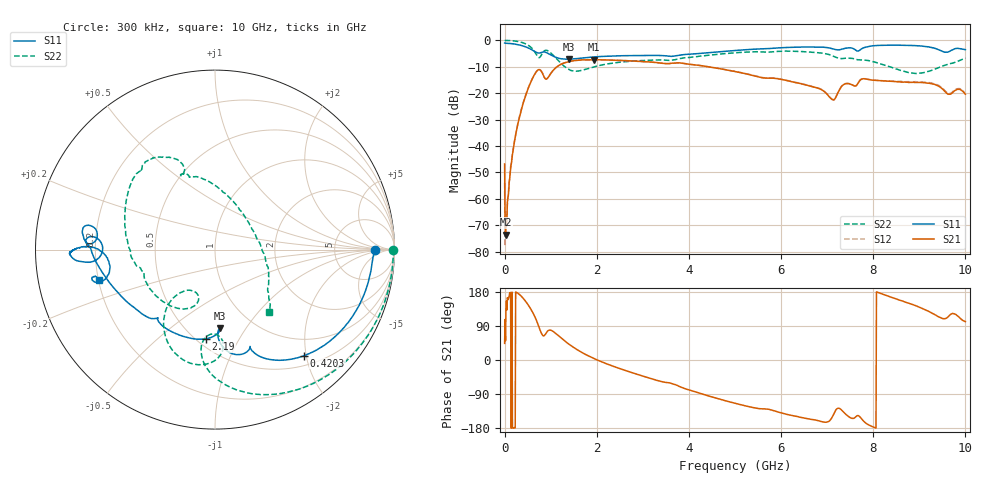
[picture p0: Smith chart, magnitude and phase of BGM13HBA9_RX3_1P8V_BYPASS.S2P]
!Agilent Technologies,E5071C,MY46316587,B.13.01
!Date: Thu Dec 07 13:30:57 2017
!Data & Calibration Information:
!Freq	S11:SOLT2(ON)	S21:SOLT2(ON)	S12:SOLT2(ON)	S22:SOLT2(ON)
!PortZ  Port1:50+j0  Port2:50+j0
!Above PortZ is port z conversion or system Z0 setting when saving the data.
!When reading, reference impedance value at option line is always used.
# Hz S dB R 50
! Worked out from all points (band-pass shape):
!   1001 points, 300 kHz to 10 GHz, reference 50 ohm
!   highest |S21| = -7.33 dB at 1.94 GHz (marker M1); lowest = -73.5 dB at 20.3 MHz (marker M2)
!   |S21| within 3 dB of the highest: 1.113 GHz to 4.533 GHz (3.419 GHz wide, 121 % of centre)
!   lowest |S11| = -7.1 dB at 1.39 GHz (marker M3), VSWR 2.57, Z = 35.5 - j38.6 ohm
!   |S11| at or under -10 dB: nowhere
!   |S22| runs from -12.6 to -0.1 dB; largest |S21 - S12| = 0.0062
!   S11 on the Smith chart (normalised r, x): 300 kHz: 17, -0; 420.3 MHz: 0.67, -1.96; 2.19 GHz: 0.56, -0.74; 10 GHz: 0.20, -0.12
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300000  -1.01 -0.2  -46.80 43.9  -53.95 -179.8  -0.07 -0.0
2.02994e7  -1.10 -2.9  -73.50 50.5  -71.16 90.4  -0.06 -3.1
6.02982e7  -1.14 -7.7  -61.33 164.5  -61.79 145.0  -0.06 -9.3
1.902943e8  -1.35 -23.6  -40.99 -179.7  -40.46 -179.0  -0.20 -29.2
4.202874e8  -2.24 -49.9  -22.79 160.2  -22.62 160.1  -1.07 -64.7
6.00282e8  -3.67 -66.4  -14.62 127.9  -14.52 127.7  -3.13 -91.4
7.102787e8  -4.71 -70.3  -11.46 98.8  -11.41 98.7  -5.93 -97.0
8.102757e8  -4.54 -72.0  -12.09 68.2  -12.03 68.2  -5.23 -85.3
9.102727e8  -4.67 -81.2  -14.67 72.6  -14.59 72.6  -3.77 -102.4
1.070268e9  -6.14 -87.9  -11.07 73.9  -11.02 74.0  -5.93 -124.5
1.390258e9  -7.14 -86.3  -8.08 42.4  -8.05 42.6  -10.99 -125.9
1.67025e9  -6.74 -87.4  -7.44 20.3  -7.42 20.7  -11.38 -110.6
1.940242e9  -6.29 -91.2  -7.33 3.8  -7.34 4.1  -10.07 -108.4
2.190234e9  -6.03 -95.8  -7.41 -8.9  -7.40 -8.7  -9.03 -112.8
3.3402e9  -5.73 -123.3  -8.49 -54.9  -8.53 -54.8  -7.45 -153.9
5.00015e9  -3.86 -168.6  -11.83 -114.1  -11.76 -114.1  -4.73 146.5
6.6701e9  -2.54 171.5  -17.53 -156.9  -17.45 -156.7  -4.53 119.9
7.130086e9  -3.26 169.6  -22.55 -145.9  -22.41 -145.8  -6.00 110.7
7.390078e9  -3.02 177.3  -16.48 -141.5  -16.41 -141.4  -6.76 114.7
8.34005e9  -1.83 -178.2  -15.47 167.9  -15.43 167.8  -9.90 80.5
9.030029e9  -2.14 180.0  -15.96 137.9  -15.77 137.6  -12.39 18.4
1e10  -3.53 -165.5  -20.42 101.4  -20.21 101.9  -6.75 -48.9
